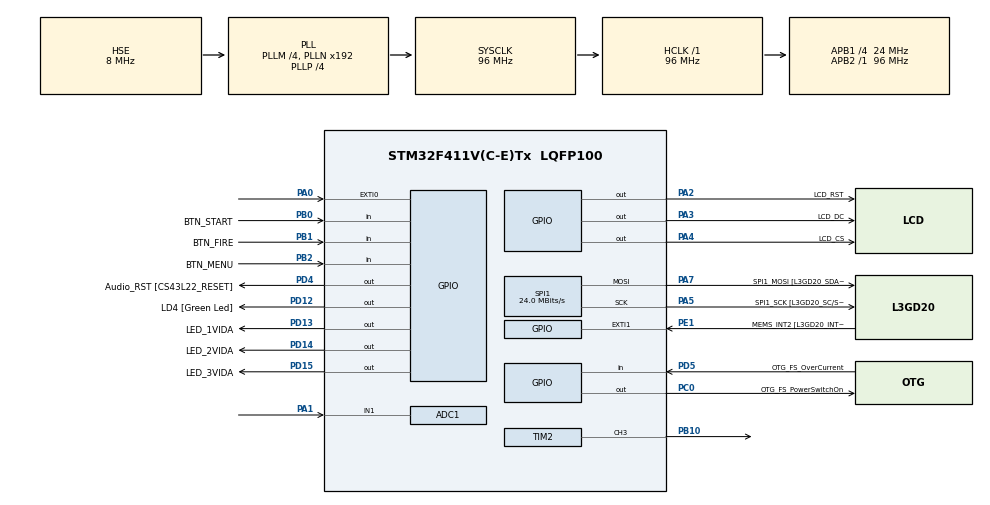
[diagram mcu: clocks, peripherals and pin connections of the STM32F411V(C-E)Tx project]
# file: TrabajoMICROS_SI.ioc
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ADC1.Channel-0\#ChannelRegularConversion=ADC_CHANNEL_1
ADC1.ContinuousConvMode=ENABLE
ADC1.NbrOfConversionFlag=1
ADC1.Rank-0\#ChannelRegularConversion=1
ADC1.SamplingTime-0\#ChannelRegularConversion=ADC_SAMPLETIME_3CYCLES
ADC1.master=1
Dma.Request0=SPI1_TX
Dma.SPI1_TX.0.Direction=DMA_MEMORY_TO_PERIPH
Dma.SPI1_TX.0.FIFOMode=DMA_FIFOMODE_DISABLE
Dma.SPI1_TX.0.Instance=DMA2_Stream2
Dma.SPI1_TX.0.MemDataAlignment=DMA_MDATAALIGN_BYTE
Dma.SPI1_TX.0.MemInc=DMA_MINC_ENABLE
Dma.SPI1_TX.0.Mode=DMA_NORMAL
Dma.SPI1_TX.0.PeriphDataAlignment=DMA_PDATAALIGN_BYTE
Dma.SPI1_TX.0.PeriphInc=DMA_PINC_DISABLE
Dma.SPI1_TX.0.Priority=DMA_PRIORITY_HIGH
Mcu.Family=STM32F4
Mcu.Name=STM32F411V(C-E)Tx
Mcu.Package=LQFP100
NVIC.DMA2_Stream2_IRQn=true\:0\:0\:false\:false\:true\:false\:true\:true
NVIC.PriorityGroup=NVIC_PRIORITYGROUP_0
PA0-WKUP.GPIO_ModeDefaultEXTI=GPIO_MODE_EVT_RISING
PA0-WKUP.Signal=GPXTI0
PA1.Signal=ADCx_IN1
PA13.GPIO_Label=SWDIO
PA13.Mode=Serial_Wire
PA13.Signal=SYS_JTMS-SWDIO
PA14.GPIO_Label=SWCLK
PA14.Mode=Serial_Wire
PA14.Signal=SYS_JTCK-SWCLK
PA2.GPIO_Label=LCD_RST
PA2.Signal=GPIO_Output
PA3.GPIO_Label=LCD_DC
PA3.Signal=GPIO_Output
PA4.GPIO_Label=LCD_CS
PA4.Signal=GPIO_Output
PA5.GPIO_Label=SPI1_SCK [L3GD20_SC/SPC]
PA5.Mode=TX_Only_Simplex_Unidirect_Master
PA5.Signal=SPI1_SCK
PA6.GPIO_Label=SPI1_MISO [L3GD20_AS0/SDO]
PA6.Signal=SPI1_MISO
PA7.GPIO_Label=SPI1_MOSI [L3GD20_SDA/SDI/SDO]
PA7.Mode=TX_Only_Simplex_Unidirect_Master
PA7.Signal=SPI1_MOSI
PB0.GPIO_Label=BTN_START
PB0.GPIO_PuPd=GPIO_PULLUP
PB0.Signal=GPIO_Input
PB1.GPIO_Label=BTN_FIRE
PB1.GPIO_PuPd=GPIO_PULLUP
PB1.Signal=GPIO_Input
PB10.Signal=S_TIM2_CH3
PB2.GPIO_Label=BTN_MENU
PB2.GPIO_PuPd=GPIO_PULLUP
PB2.Signal=GPIO_Input
PB3.GPIO_Label=SWO
PB3.Signal=SYS_JTDO-SWO
PC0.GPIO_Label=OTG_FS_PowerSwitchOn
PC0.PinState=GPIO_PIN_SET
PC0.Signal=GPIO_Output
PC14-OSC32_IN.GPIO_Label=PC14-OSC32_IN
PC14-OSC32_IN.Mode=LSE-External-Oscillator
PC14-OSC32_IN.Signal=RCC_OSC32_IN
PC15-OSC32_OUT.GPIO_Label=PC15-OSC32_OUT
PC15-OSC32_OUT.Mode=LSE-External-Oscillator
PC15-OSC32_OUT.Signal=RCC_OSC32_OUT
PD12.GPIO_Label=LD4 [Green Led]
PD12.GPIO_PuPd=GPIO_NOPULL
PD12.GPIO_Speed=GPIO_SPEED_FREQ_LOW
PD12.Signal=GPIO_Output
PD13.GPIO_Label=LED_1VIDA
PD13.GPIO_PuPd=GPIO_NOPULL
PD13.GPIO_Speed=GPIO_SPEED_FREQ_LOW
PD13.Signal=GPIO_Output
PD14.GPIO_Label=LED_2VIDA
PD14.GPIO_PuPd=GPIO_NOPULL
PD14.GPIO_Speed=GPIO_SPEED_FREQ_LOW
PD14.Signal=GPIO_Output
PD15.GPIO_Label=LED_3VIDA
PD15.GPIO_PuPd=GPIO_NOPULL
PD15.GPIO_Speed=GPIO_SPEED_FREQ_LOW
PD15.Signal=GPIO_Output
PD4.GPIO_Label=Audio_RST [CS43L22_RESET]
PD4.Signal=GPIO_Output
PD5.GPIO_Label=OTG_FS_OverCurrent
PD5.Signal=GPIO_Input
PE1.GPIO_Label=MEMS_INT2 [L3GD20_INT2]
PE1.GPIO_ModeDefaultEXTI=GPIO_MODE_EVT_RISING
PE1.Signal=GPXTI1
PH0\ -\ OSC_IN.GPIO_Label=PH0-OSC_IN
PH0\ -\ OSC_IN.Mode=HSE-External-Oscillator
PH0\ -\ OSC_IN.Signal=RCC_OSC_IN
PH1\ -\ OSC_OUT.GPIO_Label=PH1-OSC_OUT
PH1\ -\ OSC_OUT.Mode=HSE-External-Oscillator
PH1\ -\ OSC_OUT.Signal=RCC_OSC_OUT
ProjectManager.HeapSize=0x200
ProjectManager.StackSize=0x400
ProjectManager.TargetToolchain=STM32CubeIDE
RCC.48MHZClocksFreq_Value=48000000
RCC.AHBFreq_Value=96000000
RCC.APB1CLKDivider=RCC_HCLK_DIV4
RCC.APB1Freq_Value=24000000
RCC.APB1TimFreq_Value=48000000
RCC.APB2Freq_Value=96000000
RCC.APB2TimFreq_Value=96000000
RCC.CortexFreq_Value=96000000
RCC.HCLKFreq_Value=96000000
RCC.HSE_VALUE=8000000
RCC.HSI_VALUE=16000000
RCC.PLLI2SM=5
RCC.PLLI2SN=200
RCC.PLLM=4
RCC.PLLP=RCC_PLLP_DIV4
RCC.PLLQ=8
RCC.PLLSourceVirtual=RCC_PLLSOURCE_HSE
RCC.SYSCLKFreq_VALUE=96000000
RCC.SYSCLKSource=RCC_SYSCLKSOURCE_PLLCLK
RCC.VCOOutputFreq_Value=384000000
SH.ADCx_IN1.0=ADC1_IN1,IN1
SH.S_TIM2_CH3.0=TIM2_CH3,PWM Generation3 CH3
SPI1.BaudRatePrescaler=SPI_BAUDRATEPRESCALER_4
SPI1.CalculateBaudRate=24.0 MBits/s
SPI1.Direction=SPI_DIRECTION_2LINES
SPI1.Mode=SPI_MODE_MASTER
SPI1.VirtualType=VM_MASTER
TIM2.Channel-PWM\ Generation3\ CH3=TIM_CHANNEL_3
board=STM32F411E-DISCO

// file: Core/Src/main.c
/* USER CODE BEGIN Header */
/**
  ******************************************************************************
  * @file           : main.c
  * @brief          : Main program body
  ******************************************************************************
  * @attention
  *
  * Copyright (c) 2026 STMicroelectronics.
  * All rights reserved.
  *
  * This software is licensed under terms that can be found in the LICENSE file
  * in the root directory of this software component.
  * If no LICENSE file comes with this software, it is provided AS-IS.
  *
  ******************************************************************************
  */
/* USER CODE END Header */
#include "main.h"

ADC_HandleTypeDef hadc1;

SPI_HandleTypeDef hspi1;
DMA_HandleTypeDef hdma_spi1_tx;

TIM_HandleTypeDef htim2;

void SystemClock_Config(void);
static void MX_GPIO_Init(void);
static void MX_DMA_Init(void);
static void MX_SPI1_Init(void);
static void MX_ADC1_Init(void);
static void MX_TIM2_Init(void);

/* USER CODE BEGIN 0 */

#include "sprites.h"
#include "fonts.h"
#include <stdio.h>
#include <stdlib.h>

// --- 1. DEFINICIONES DE PINES ---
#define LCD_CS_LOW()    HAL_GPIO_WritePin(LCD_CS_GPIO_Port, LCD_CS_Pin, GPIO_PIN_RESET)
#define LCD_CS_HIGH()   HAL_GPIO_WritePin(LCD_CS_GPIO_Port, LCD_CS_Pin, GPIO_PIN_SET)
#define LCD_DC_CMD()    HAL_GPIO_WritePin(LCD_DC_GPIO_Port, LCD_DC_Pin, GPIO_PIN_RESET)
#define LCD_DC_DATA()   HAL_GPIO_WritePin(LCD_DC_GPIO_Port, LCD_DC_Pin, GPIO_PIN_SET)
#define LCD_RST_LOW()   HAL_GPIO_WritePin(LCD_RST_GPIO_Port, LCD_RST_Pin, GPIO_PIN_RESET)
#define LCD_RST_HIGH()  HAL_GPIO_WritePin(LCD_RST_GPIO_Port, LCD_RST_Pin, GPIO_PIN_SET)

extern SPI_HandleTypeDef hspi1;
extern TIM_HandleTypeDef htim2;
extern ADC_HandleTypeDef hadc1;

// --- 2. FUNCIONES BASE PANTALLA ---
void ST7796_Cmd(uint8_t cmd) {
    LCD_DC_CMD(); LCD_CS_LOW(); HAL_SPI_Transmit(&hspi1, &cmd, 1, 10); LCD_CS_HIGH();
}

void ST7796_Data(uint8_t data) {
    LCD_DC_DATA(); LCD_CS_LOW(); HAL_SPI_Transmit(&hspi1, &data, 1, 10); LCD_CS_HIGH();
}

void ST7796_Init(void) {
    LCD_CS_HIGH(); LCD_RST_LOW(); HAL_Delay(100); LCD_RST_HIGH(); HAL_Delay(100);
    ST7796_Cmd(0x01); HAL_Delay(120);
    ST7796_Cmd(0x11); HAL_Delay(120);
    ST7796_Cmd(0x3A); ST7796_Data(0x55);
    ST7796_Cmd(0x36); ST7796_Data(0x48);
    ST7796_Cmd(0x29); HAL_Delay(10);
}

void ST7796_SetWindow(uint16_t x0, uint16_t y0, uint16_t x1, uint16_t y1) {
    ST7796_Cmd(0x2A);
    uint8_t dataX[] = {x0 >> 8, x0 & 0xFF, x1 >> 8, x1 & 0xFF};
    LCD_DC_DATA(); LCD_CS_LOW(); HAL_SPI_Transmit(&hspi1, dataX, 4, 10); LCD_CS_HIGH();

    ST7796_Cmd(0x2B);
    uint8_t dataY[] = {y0 >> 8, y0 & 0xFF, y1 >> 8, y1 & 0xFF};
    LCD_DC_DATA(); LCD_CS_LOW(); HAL_SPI_Transmit(&hspi1, dataY, 4, 10); LCD_CS_HIGH();
    ST7796_Cmd(0x2C);
}

void ST7796_Fill(uint16_t color) {
    ST7796_SetWindow(0, 0, 319, 479);
    uint8_t colorBytes[2] = {color >> 8, color & 0xFF};
    LCD_DC_DATA(); LCD_CS_LOW();
    for(long i = 0; i < (320 * 480); i++) HAL_SPI_Transmit(&hspi1, colorBytes, 2, 10);
    LCD_CS_HIGH();
}

void ST7796_DrawRect(uint16_t x, uint16_t y, uint16_t w, uint16_t h, uint16_t color) {
    if((x+w) > 320 || (y+h) > 480) return;
    ST7796_SetWindow(x, y, x + w - 1, y + h - 1);
    uint8_t colorBytes[2] = {color >> 8, color & 0xFF};
    LCD_DC_DATA(); LCD_CS_LOW();
    for(uint32_t i = 0; i < (w * h); i++) HAL_SPI_Transmit(&hspi1, colorBytes, 2, 10);
    LCD_CS_HIGH();
}

void ST7796_DrawBitmap(uint16_t x, uint16_t y, uint16_t w, uint16_t h, const uint16_t *bitmap) {
    if((x+w) > 320 || (y+h) > 480) return;
    ST7796_SetWindow(x, y, x + w - 1, y + h - 1);
    LCD_DC_DATA(); LCD_CS_LOW();
    for(uint32_t i = 0; i < (w * h); i++) {
        uint16_t color = bitmap[i];
        uint8_t colorBytes[2] = {color >> 8, color & 0xFF};
        HAL_SPI_Transmit(&hspi1, colorBytes, 2, 10);
    }
    LCD_CS_HIGH();
}

// --- 3. FUNCIONES DE TEXTO (FONTS) ---
void ST7796_DrawChar(uint16_t x, uint16_t y, char c, uint16_t color, uint16_t bg, uint8_t size) {
    if((x+7*size) > 320 || (y+10*size) > 480) return;
    if(c < 32 || c > 127) return;
    const uint16_t *pChar = &Font7x10[(c - 32) * 10];

    ST7796_SetWindow(x, y, x + (7*size) - 1, y + (10*size) - 1);
    LCD_DC_DATA(); LCD_CS_LOW();

    for(int i=0; i<10; i++) {
        uint16_t line = pChar[i];
        for(int r=0; r<size; r++) {
            for(int j=0; j<7; j++) {
                uint16_t pixelColor = (line & (0x8000 >> j)) ? color : bg;
                uint8_t colorBytes[2] = {pixelColor >> 8, pixelColor & 0xFF};
                for(int k=0; k<size; k++) {
                   HAL_SPI_Transmit(&hspi1, colorBytes, 2, 10);
                }
            }
        }
    }
    LCD_CS_HIGH();
}

void ST7796_WriteString(uint16_t x, uint16_t y, char *str, uint16_t color, uint16_t bg, uint8_t size) {
    while(*str) {
        ST7796_DrawChar(x, y, *str, color, bg, size);
        x += 7 * size;
        str++;
    }
}

// --- FUNCIÓN PARA DIBUJAR CON ZOOM ---
// x, y: Coordenadas
// w, h: Ancho y alto original
// bitmap: El array de la imagen
// zoom: Cuántas veces más grande (1 = normal, 2 = doble, 3 = triple...)
void ST7796_DrawBitmapZoom(int x, int y, int w, int h, const uint16_t* bitmap, int zoom) {
    for (int j = 0; j < h; j++) {
        for (int i = 0; i < w; i++) {
            // Obtenemos el color del píxel original
            uint16_t color = bitmap[j * w + i];

            // Si no es negro (transparencia), pintamos un cuadrado gordo
            if (color != 0x0000) {
                ST7796_DrawRect(x + (i * zoom), y + (j * zoom), zoom, zoom, color);
            }
        }
    }
}

// --- 4. SONIDO ---
void Beep(uint16_t frecuencia, uint16_t duracion) {
    if(frecuencia == 0) return;
    uint32_t periodo = 1000000 / frecuencia;
    __HAL_TIM_SET_AUTORELOAD(&htim2, periodo);
    __HAL_TIM_SET_COMPARE(&htim2, TIM_CHANNEL_3, periodo / 2);

    HAL_TIM_PWM_Start(&htim2, TIM_CHANNEL_3);
    HAL_Delay(duracion);
    HAL_TIM_PWM_Stop(&htim2, TIM_CHANNEL_3);
}

// --- 5. VARIABLES GLOBALES
int naveX = 152;
int naveY = 420;

typedef enum {
    ESTADO_MENU,
    ESTADO_SELECCION,
    ESTADO_JUEGO,
    ESTADO_VICTORIA,
    ESTADO_DERROTA
} EstadoJuego;

// --- DISPAROS ENEMIGOS ---
#define MAX_BALAS_ENEMIGAS 5      // Máximo de balas enemigas en pantalla
#define VELOCIDAD_BALA_ENEMIGA 6  // Bajan un poco más lento que las tuyas
typedef struct {
    int x, y;
    uint8_t activa;
} BalaEnemiga;
BalaEnemiga balasEnemigas[MAX_BALAS_ENEMIGAS];

// --- GESTIÓN DE LEDS DE VIDA (PD13, PD14, PD15) ---
void ActualizarLEDsVidas(int numVidas) {
    // 1. Apagamos todos primero (para limpiar estado)
    HAL_GPIO_WritePin(LED_1VIDA_GPIO_Port, LED_1VIDA_Pin, GPIO_PIN_RESET);
    HAL_GPIO_WritePin(LED_2VIDA_GPIO_Port, LED_2VIDA_Pin, GPIO_PIN_RESET);
    HAL_GPIO_WritePin(LED_3VIDA_GPIO_Port, LED_3VIDA_Pin, GPIO_PIN_RESET);
    if (numVidas >= 1) HAL_GPIO_WritePin(LED_1VIDA_GPIO_Port, LED_1VIDA_Pin, GPIO_PIN_SET);
    if (numVidas >= 2) HAL_GPIO_WritePin(LED_2VIDA_GPIO_Port, LED_2VIDA_Pin, GPIO_PIN_SET);
    if (numVidas >= 3) HAL_GPIO_WritePin(LED_3VIDA_GPIO_Port, LED_3VIDA_Pin, GPIO_PIN_SET);
}

EstadoJuego estadoActual = ESTADO_MENU;

uint32_t ultimoTiempoRefresco = 0;
const uint32_t TIEMPO_ENTRE_FRAMES = 33;

int vidas = 3;
int naveSeleccionada = 0;

// --- DEFINICIONES DE ENEMIGOS
#define FILAS_MARCIANOS 5  // 1 fila de cada tipo
#define COLS_MARCIANOS 6   // 6 columnas
#define TOTAL_MARCIANOS (FILAS_MARCIANOS * COLS_MARCIANOS)

typedef struct {
    int x;
    int y;
    int tipo;
    int ancho;
    int alto;
    uint8_t vivo;
} Marciano;

Marciano marcianos[TOTAL_MARCIANOS];
int velocidadMarcianos = 4; // ¡Más rápido porque hay menos!
int direccionMarcianos = 1;

// --- DEFINICIONES DISPAROS ---
#define MAX_BALAS 10       // Bajamos un poco para ahorrar cálculos
#define VELOCIDAD_BALA 12
#define COOLDOWN_DISPARO 150

typedef struct {
    int x;
    int y;
    uint8_t activa;
} Bala;

Bala balas[MAX_BALAS];

// --- SISTEMA DE SOBRECALENTAMIENTO DEL ARMA, COOLDOWN ---
#define MAX_CALOR 1200           // Tiempo de cooldown de la rafaga
#define CALOR_POR_DISPARO 300    // Cuánto calienta cada bala
#define ENFRIAMIENTO_FRAME 33    // Cuánto enfría cada vuelta del bucle
// CÁLCULO: 300 calor / 150ms cadencia vs 33 enfriamiento * 4.5 frames = Sube el calor neto.

int calorArma = 0;               // Variable actual de calor (0 a 2000)
uint8_t armaSobrecalentada = 0;  // Flag: 1 = Bloqueada, 0 = Lista

// --- SISTEMA DE SONIDO NO BLOQUEANTE (REFORZADO) ---
uint32_t tiempoFinSonido = 0;
uint8_t buzzerActivo = 0;

void PlayTone(uint16_t frecuencia, uint16_t duracion) {
    if(frecuencia == 0) return;

    // 1. Parar PWM para configurar
    HAL_TIM_PWM_Stop(&htim2, TIM_CHANNEL_3);

    // 2. Calcular periodo (Reloj 1MHz)
    uint32_t periodo = 1000000 / frecuencia;

    // 3. Aplicar configuración
    __HAL_TIM_SET_AUTORELOAD(&htim2, periodo);
    __HAL_TIM_SET_COMPARE(&htim2, TIM_CHANNEL_3, periodo / 2); // 50% Duty Cycle
    // Forzar actualización de registros sombra (Importante para STM32)
    __HAL_TIM_SET_COUNTER(&htim2, 0);

    // 4. Arrancar de nuevo
    HAL_TIM_PWM_Start(&htim2, TIM_CHANNEL_3);

    // 5. Programar apagado
    tiempoFinSonido = HAL_GetTick() + duracion;
    buzzerActivo = 1;
}

/* USER CODE END 0 */

int main(void)
{

  /* MCU Configuration--------------------------------------------------------*/

  /* Reset of all peripherals, Initializes the Flash interface and the Systick. */
  HAL_Init();

  /* Configure the system clock */
  SystemClock_Config();

  /* Initialize all configured peripherals */
  MX_GPIO_Init();
  MX_DMA_Init();
  MX_SPI1_Init();
  MX_ADC1_Init();
  MX_TIM2_Init();
  /* USER CODE BEGIN 2 */

    // 1. Inicializamos hardware
    ST7796_Init();
    ST7796_Fill(0x0000); // Fondo negro

        Beep(1500, 100);

  /* USER CODE END 2 */

  /* Infinite loop */
  while (1)
  {

    /* USER CODE BEGIN 3 */

	      uint32_t tiempoActual = HAL_GetTick();

	      if (tiempoActual - ultimoTiempoRefresco >= TIEMPO_ENTRE_FRAMES) {

	          ultimoTiempoRefresco = tiempoActual;

	          // MÁQUINA DE ESTADOS
	          switch (estadoActual) {

	          case ESTADO_MENU:

	                          static uint8_t menuPintado = 0;

	                          // 1. DIBUJAR
	                          if (menuPintado == 0) {
	                              ST7796_Fill(0x0000); // Limpiar pantalla a negro

	                              // Título Grande - Color Verde
	                              ST7796_WriteString(40, 100, "SPACE", 0x07E0, 0x0000, 5);
	                              ST7796_WriteString(20, 160, "INVADERS", 0xF800, 0x0000, 5);

	                              // Nombres - Color Blanco
	                              ST7796_WriteString(50, 230, "Desarrollado por", 0xFFFF, 0x0000, 1);
	                              ST7796_WriteString(50, 250, "- Andres Galindo Gordon", 0xFFFF, 0x0000, 1);
	                              ST7796_WriteString(50, 260, "- Marina Moreno Hernandez", 0xFFFF, 0x0000, 1);
	                              ST7796_WriteString(50, 270, "- Segio Llana Ayen", 0xFFFF, 0x0000, 1);

	                              // Instrucción
	                              ST7796_WriteString(60, 350, "PULSA START", 0xFFE0, 0x0000, 2);

	                              menuPintado = 1;
	                          }

	                          // 2. LOGICA (Esperar botón START - PB0)
	                          if (HAL_GPIO_ReadPin(GPIOB, GPIO_PIN_0) == GPIO_PIN_RESET) {
	                              Beep(1000, 100);
	                              ST7796_Fill(0x0000);
	                              menuPintado = 0;
	                              estadoActual = ESTADO_SELECCION;
	                              HAL_Delay(300);
	                          }
	                          break;

	          case ESTADO_SELECCION:
					  static int seleccionAnterior = -1;
					  static uint8_t primeraVez = 1;

					  // 1. DIBUJAR INTERFAZ FIJA
					  if (primeraVez) {
						  ST7796_Fill(0x0000);

						  // Títulos estáticos
						  ST7796_WriteString(80, 40, "SELECCIONA", 0xFFFF, 0x0000, 2);
						  ST7796_WriteString(100, 70, "TU NAVE", 0xFFFF, 0x0000, 2);

						  // Flechas estáticas
						  ST7796_WriteString(20, 200, "<", 0xFFFF, 0x0000, 2);
						  ST7796_WriteString(290, 200, ">", 0xFFFF, 0x0000, 2);

						  ST7796_WriteString(60, 400, "PULSA START", 0xFF00, 0x0000, 2);

						  primeraVez = 0;
						  seleccionAnterior = -1;
					  }

					  // 2. LEER JOYSTICK
					  HAL_ADC_Start(&hadc1);
					  HAL_ADC_PollForConversion(&hadc1, 10);
					  uint32_t joyValSel = HAL_ADC_GetValue(&hadc1);

					  if (joyValSel > 3000) {
						  naveSeleccionada++;
						  if (naveSeleccionada > 2) naveSeleccionada = 0;
						  PlayTone(2000, 30);
						  HAL_Delay(150);
					  }
					  else if (joyValSel < 1000) {
						  naveSeleccionada--;
						  if (naveSeleccionada < 0) naveSeleccionada = 2;
						  PlayTone(2000, 30);
						  HAL_Delay(150);
					  }

					  // 3. DIBUJAR NAVES (al cambiar selección)
					  if (naveSeleccionada != seleccionAnterior) {

						  //BORRAR (solo zona central) ---
						  ST7796_DrawRect(40, 150, 240, 200, 0x0000);

						  // --- LOGICA DE POSICIONES ---
						  int naveIzquierda = (naveSeleccionada == 0) ? 2 : naveSeleccionada - 1;
						  int naveDerecha   = (naveSeleccionada == 2) ? 0 : naveSeleccionada + 1;

						  // A. NAVE IZQUIERDA
						  if (naveIzquierda == 0) ST7796_DrawBitmap(40, 200, 16, 8, nave_16x8);
						  else if (naveIzquierda == 1) ST7796_DrawBitmap(40, 200, 20, 10, nave_delta_20x10);
						  else ST7796_DrawBitmap(40, 200, 16, 10, nave_interceptor_16x10);

						  // B. NAVE DERECHA
						  if (naveDerecha == 0) ST7796_DrawBitmap(260, 200, 16, 8, nave_16x8);
						  else if (naveDerecha == 1) ST7796_DrawBitmap(260, 200, 20, 10, nave_delta_20x10);
						  else ST7796_DrawBitmap(260, 200, 16, 10, nave_interceptor_16x10);

						  // C. NAVE CENTRAL (x4)
						  if (naveSeleccionada == 0) {
							  ST7796_DrawBitmapZoom(128, 180, 16, 8, nave_16x8, 4);
							  ST7796_WriteString(100, 260, "NORMAL", 0x07E0, 0x0000, 2);
							  ST7796_WriteString(80, 290, "Salud        -----", 0xFFFF, 0x0000, 1);
							  ST7796_WriteString(80, 310, "Disparo      -----", 0xFFFF, 0x0000, 1);
							  ST7796_WriteString(80, 330, "Velocidad    -----", 0xFFFF, 0x0000, 1);
						  }
						  else if (naveSeleccionada == 1) {
							  ST7796_DrawBitmapZoom(120, 180, 20, 10, nave_delta_20x10, 4);
							  ST7796_WriteString(110, 260, "DELTA", 0x07E0, 0x0000, 2);
							  ST7796_WriteString(80, 290, "Salud        -----", 0xFFFF, 0x0000, 1);
							  ST7796_WriteString(80, 310, "Disparo      ---", 0xFFFF, 0x0000, 1);
							  ST7796_WriteString(80, 330, "Velocidad    ----------", 0xFFFF, 0x0000, 1);
						  }
						  else {
							  ST7796_DrawBitmapZoom(128, 180, 16, 10, nave_interceptor_16x10, 4);
							  ST7796_WriteString(80, 260, "INTERCEPTOR", 0x07E0, 0x0000, 2);
							  ST7796_WriteString(80, 290, "Salud        ------", 0xFFFF, 0x0000, 1);
							  ST7796_WriteString(80, 310, "Disparo      ---------", 0xFFFF, 0x0000, 1);
							  ST7796_WriteString(80, 330, "Velocidad    --", 0xFFFF, 0x0000, 1);
						  }

						  seleccionAnterior = naveSeleccionada;
					  }

					  // 4. CONFIRMAR (START)
					  if (HAL_GPIO_ReadPin(GPIOB, GPIO_PIN_0) == GPIO_PIN_RESET) {
						  PlayTone(1000, 100);
						  PlayTone(1500, 200);

						  primeraVez = 1; // Resetear para la próxima vez que volvamos al menú
						  seleccionAnterior = -1;

						  estadoActual = ESTADO_JUEGO;
						  HAL_Delay(300);
					  }
					  break;

	              case ESTADO_JUEGO:
					  // --- VARIABLES ESTÁTICAS
					  static uint8_t juegoIniciado = 0;
					  static int anchoNave = 16;
					  static int altoNave = 8;
					  static int oldNaveX = 0;
					  static int oldNaveY = 0;

					  static uint32_t ultimoDisparo = 0;
					  static uint32_t ultimoMovMarcianos = 0;
					  static int marcianosVivos = 0;
					  static int oleada = 1;

					  // Variable de muerte unificada (para colisión física o disparo)
					  uint8_t muerteJugador = 0;

					  // --- 1. INICIALIZACIÓN
					  if (juegoIniciado == 0) {
						  ST7796_Fill(0x0000);

						  if (naveSeleccionada == 0) { anchoNave = 16; altoNave = 8; }
						  else if (naveSeleccionada == 1) { anchoNave = 20; altoNave = 10; }
						  else if (naveSeleccionada == 2) { anchoNave = 16; altoNave = 10; }

						  naveX = 152;
						  naveY = 420;

						  for(int i=0; i<MAX_BALAS; i++) balas[i].activa = 0;
						  for(int i=0; i<MAX_BALAS_ENEMIGAS; i++) balasEnemigas[i].activa = 0; // Reset balas enemigas

						  calorArma = 0;
						  armaSobrecalentada = 0;

						  oleada = 1;
						  velocidadMarcianos = 4;
						  ActualizarLEDsVidas(vidas);

						  // INICIALIZAR MARCIANOS
						  int idx = 0;
						  direccionMarcianos = 1;
						  marcianosVivos = TOTAL_MARCIANOS;

						  for(int fila=0; fila < FILAS_MARCIANOS; fila++) {
							  for(int col=0; col < COLS_MARCIANOS; col++) {
								  marcianos[idx].vivo = 1;
								  marcianos[idx].x = 30 + (col * 45);
								  marcianos[idx].y = 40 + (fila * 30);
								  marcianos[idx].tipo = fila;

								  if(fila==0) { marcianos[idx].ancho=16; marcianos[idx].alto=11; }
								  else if(fila==1) { marcianos[idx].ancho=16; marcianos[idx].alto=11; }
								  else if(fila==2) { marcianos[idx].ancho=16; marcianos[idx].alto=11; }
								  else if(fila==3) { marcianos[idx].ancho=18; marcianos[idx].alto=12; }
								  else { marcianos[idx].ancho=24; marcianos[idx].alto=16; }
								  idx++;
							  }
						  }

						  // Animación
						  for (int y = 480; y >= 420; y -= 4) {
							  ST7796_DrawRect(naveX, y + 4, anchoNave, altoNave, 0x0000);
							  if (naveSeleccionada == 0) ST7796_DrawBitmap(naveX, y, 16, 8, nave_16x8);
							  else if (naveSeleccionada == 1) ST7796_DrawBitmap(naveX, y, 20, 10, nave_delta_20x10);
							  else if (naveSeleccionada == 2) ST7796_DrawBitmap(naveX, naveY, 16, 10, nave_interceptor_16x10);
							  HAL_Delay(5);
						  }
						  oldNaveX = naveX;
						  oldNaveY = naveY;

						  char bufferVidas[10];
						  sprintf(bufferVidas, "VIDAS: %d", vidas);
						  ST7796_WriteString(10, 10, bufferVidas, 0xFFFF, 0x0000, 1);

						  juegoIniciado = 1;
					  }

					  // --- 2. ENFRIAMIENTO Y MOVIMIENTO NAVE ---
					  if (calorArma > 0) {
						  calorArma -= ENFRIAMIENTO_FRAME;
						  if (calorArma < 0) calorArma = 0;
					  }
					  if (armaSobrecalentada && calorArma == 0) {
						  armaSobrecalentada = 0;
						  ST7796_WriteString(200, 10, "            ", 0x0000, 0x0000, 1);
						  PlayTone(1000, 50);
					  }

					  HAL_ADC_Start(&hadc1);
					  HAL_ADC_PollForConversion(&hadc1, 10);
					  uint32_t valJoy = HAL_ADC_GetValue(&hadc1);

					  if (valJoy < 1000) { naveX -= 8; if (naveX < 0) naveX = 0; }
					  else if (valJoy > 3000) { naveX += 8; if (naveX > (320 - anchoNave)) naveX = 320 - anchoNave; }

					  // --- 3. DISPAROS JUGADOR ---
					  if (HAL_GPIO_ReadPin(GPIOB, GPIO_PIN_1) == GPIO_PIN_RESET) {
						  if (!armaSobrecalentada) {
							  if (HAL_GetTick() - ultimoDisparo > COOLDOWN_DISPARO) {
								  for (int i = 0; i < MAX_BALAS; i++) {
									  if (balas[i].activa == 0) {
										  balas[i].activa = 1;
										  balas[i].x = naveX + (anchoNave / 2) - 1;
										  balas[i].y = naveY - 4;
										  PlayTone(5000, 30);
										  calorArma += CALOR_POR_DISPARO;
										  if (calorArma >= MAX_CALOR) {
											  armaSobrecalentada = 1;
											  calorArma = MAX_CALOR;
											  ST7796_WriteString(200, 10, "ENFRIANDO...", 0xF800, 0x0000, 1);
											  PlayTone(100, 100);
										  }
										  ultimoDisparo = HAL_GetTick();
										  break;
									  }
								  }
							  }
						  }
					  }

					  // --- 4. ACTUALIZAR BALAS JUGADOR ---
					  for (int i = 0; i < MAX_BALAS; i++) {
						  if (balas[i].activa == 1) {
							  ST7796_DrawRect(balas[i].x, balas[i].y, 2, 5, 0x0000);
							  balas[i].y -= VELOCIDAD_BALA;

							  if (balas[i].y < 0) balas[i].activa = 0;
							  else {
								  uint8_t impacto = 0;
								  for(int m=0; m < TOTAL_MARCIANOS; m++) {
									  if(marcianos[m].vivo) {
										  if(balas[i].x >= marcianos[m].x &&
											 balas[i].x <= (marcianos[m].x + marcianos[m].ancho) &&
											 balas[i].y >= marcianos[m].y &&
											 balas[i].y <= (marcianos[m].y + marcianos[m].alto)) {

											  marcianos[m].vivo = 0;
											  ST7796_DrawRect(marcianos[m].x, marcianos[m].y, marcianos[m].ancho, marcianos[m].alto, 0x0000);
											  balas[i].activa = 0;
											  impacto = 1;
											  marcianosVivos--;
											  PlayTone(100, 40);
											  break;
										  }
									  }
								  }
								  if(!impacto) ST7796_DrawRect(balas[i].x, balas[i].y, 2, 5, 0xFFFF);
							  }
						  }
					  }

					  // --- 5. INTELIGENCIA ARTIFICIAL ENEMIGA (MEJORADA) ---
					  if (oleada >= 2) {
						  for(int i=0; i<TOTAL_MARCIANOS; i++) {
							  // Solo procesamos si el marciano está vivo
							  if (marcianos[i].vivo) {

								  int puedeDisparar = 0; // Bandera de permiso

								  // REGLA 1: Los Morados (Tipo 4) disparan desde la Oleada 2
								  if (marcianos[i].tipo == 4 && oleada >= 2) {
									  puedeDisparar = 1;
								  }

								  // REGLA 2: Los Verdes (Tipo 0) disparan desde la Oleada 3
								  if (marcianos[i].tipo == 0 && oleada >= 3) {
									  puedeDisparar = 1;
								  }

								  // Si tiene permiso, tiramos los dados (1% de probabilidad)
								  if (puedeDisparar && (rand() % 100) < 1) {
									  // Buscar bala enemiga libre
									  for(int b=0; b<MAX_BALAS_ENEMIGAS; b++) {
										  if(balasEnemigas[b].activa == 0) {
											  balasEnemigas[b].activa = 1;
											  // La bala sale del centro del marciano
											  balasEnemigas[b].x = marcianos[i].x + (marcianos[i].ancho/2);
											  balasEnemigas[b].y = marcianos[i].y + marcianos[i].alto;
											  break;
										  }
									  }
								  }
							  }
						  }
					  }

					  // --- 6. MOVER BALAS ENEMIGAS Y DETECTAR IMPACTO ---
					  for(int b=0; b<MAX_BALAS_ENEMIGAS; b++) {
						  if(balasEnemigas[b].activa) {
							  ST7796_DrawRect(balasEnemigas[b].x, balasEnemigas[b].y, 3, 6, 0x0000); // Borrar
							  balasEnemigas[b].y += VELOCIDAD_BALA_ENEMIGA; // Caen hacia abajo

							  // Salida de pantalla
							  if(balasEnemigas[b].y > 480) {
								  balasEnemigas[b].activa = 0;
							  }
							  else {
								  // COLISIÓN CON JUGADOR (Hitbox)
								  if (balasEnemigas[b].x >= naveX &&
									  balasEnemigas[b].x <= (naveX + anchoNave) &&
									  balasEnemigas[b].y >= naveY &&
									  balasEnemigas[b].y <= (naveY + altoNave)) {

									  muerteJugador = 1; // ¡TE HAN DADO!
									  balasEnemigas[b].activa = 0;
								  } else {
									  // Pintar Bala ROJA (0xF800)
									  ST7796_DrawRect(balasEnemigas[b].x, balasEnemigas[b].y, 3, 6, 0xF800);
								  }
							  }
						  }
					  }

					  // --- 7. MOVER MARCIANOS ---
					  if (HAL_GetTick() - ultimoMovMarcianos > 50) {
						  ultimoMovMarcianos = HAL_GetTick();
						  uint8_t tocarBorde = 0;

						  for (int i = 0; i < TOTAL_MARCIANOS; i++) {
							  if (marcianos[i].vivo) {
								  if ((direccionMarcianos == 1 && marcianos[i].x > 290) ||
									  (direccionMarcianos == -1 && marcianos[i].x < 10)) {
									  tocarBorde = 1;
								  }
								  // Colisión física (cuerpo a cuerpo)
								  if (marcianos[i].y + marcianos[i].alto >= naveY &&
									  marcianos[i].x + marcianos[i].ancho >= naveX &&
									  marcianos[i].x <= naveX + anchoNave) {
									  muerteJugador = 1;
								  }
							  }
						  }

						  if (tocarBorde) {
							  direccionMarcianos *= -1;
							  for (int i = 0; i < TOTAL_MARCIANOS; i++) {
								  if(marcianos[i].vivo) {
									  ST7796_DrawRect(marcianos[i].x, marcianos[i].y, marcianos[i].ancho, marcianos[i].alto, 0x0000);
									  marcianos[i].y += 4;
									  const uint16_t* sprite = (marcianos[i].tipo == 0) ? marciano1_Verde_16x11 :
															   (marcianos[i].tipo == 1) ? marciano1_Amarillo_16x11 :
															   (marcianos[i].tipo == 2) ? marciano1_Azul_16x11 :
															   (marcianos[i].tipo == 3) ? marciano2_Rojo_18x12 : marciano3_Morado_24x16;
									  ST7796_DrawBitmap(marcianos[i].x, marcianos[i].y, marcianos[i].ancho, marcianos[i].alto, sprite);
								  }
							  }
						  } else {
							  for (int i = 0; i < TOTAL_MARCIANOS; i++) {
								  if(marcianos[i].vivo) {
									  ST7796_DrawRect(marcianos[i].x, marcianos[i].y, marcianos[i].ancho, marcianos[i].alto, 0x0000);
									  marcianos[i].x += (velocidadMarcianos * direccionMarcianos);
									  const uint16_t* sprite = (marcianos[i].tipo == 0) ? marciano1_Verde_16x11 :
															   (marcianos[i].tipo == 1) ? marciano1_Amarillo_16x11 :
															   (marcianos[i].tipo == 2) ? marciano1_Azul_16x11 :
															   (marcianos[i].tipo == 3) ? marciano2_Rojo_18x12 : marciano3_Morado_24x16;
									  ST7796_DrawBitmap(marcianos[i].x, marcianos[i].y, marcianos[i].ancho, marcianos[i].alto, sprite);
								  }
							  }
						  }
					  }

					  // --- 8. GESTIÓN DE MUERTE (Unificada) ---
					  if (muerteJugador) {
						  PlayTone(300, 300);
						  vidas--;
						  ActualizarLEDsVidas(vidas);

						  char bufferVidas[10];
						  sprintf(bufferVidas, "VIDAS: %d", vidas);
						  ST7796_WriteString(10, 10, bufferVidas, 0xFFFF, 0x0000, 1);

						  ST7796_DrawRect(naveX, naveY, anchoNave, altoNave, 0x0000);
						  ST7796_DrawRect(oldNaveX, oldNaveY, anchoNave, altoNave, 0x0000);

						  // Limpiar balas enemigas para que no te maten al reaparecer
						  for(int b=0; b<MAX_BALAS_ENEMIGAS; b++) {
							  if(balasEnemigas[b].activa) {
								   ST7796_DrawRect(balasEnemigas[b].x, balasEnemigas[b].y, 3, 6, 0x0000);
								   balasEnemigas[b].activa = 0;
							  }
						  }

						  if (vidas == 0) {
							  juegoIniciado = 0;
							  estadoActual = ESTADO_DERROTA;
						  } else {
							  naveX = 152; oldNaveX = 152; oldNaveY = 420;
							  calorArma = 0; armaSobrecalentada = 0;
							  ST7796_WriteString(200, 10, "            ", 0x0000, 0x0000, 1);
							  if (naveSeleccionada == 0) ST7796_DrawBitmap(naveX, naveY, 16, 8, nave_16x8);
							  else if (naveSeleccionada == 1) ST7796_DrawBitmap(naveX, naveY, 20, 10, nave_delta_20x10);
							  else if (naveSeleccionada == 2) ST7796_DrawBitmap(naveX, naveY, 16, 10, nave_interceptor_16x10);
							  HAL_Delay(200);
						  }
					  }

					  // --- 9. VICTORIA/OLEADAS ---
					  if(!muerteJugador && marcianosVivos == 0) { // Solo si no has muerto en este frame
						  for(int i=0; i<MAX_BALAS; i++) balas[i].activa = 0;
						  for(int i=0; i<MAX_BALAS_ENEMIGAS; i++) balasEnemigas[i].activa = 0;
						  PlayTone(1000, 100); HAL_Delay(100); PlayTone(2000, 200);

						  oleada++;
						  if (oleada > 3) {
							  juegoIniciado = 0;
							  estadoActual = ESTADO_VICTORIA;
						  }
						  else {
							  char bufferOleada[20];
							  sprintf(bufferOleada, "OLEADA %d", oleada);
							  ST7796_WriteString(100, 220, bufferOleada, 0x07E0, 0x0000, 3);
							  HAL_Delay(2000);
							  ST7796_Fill(0x0000);
							  velocidadMarcianos += 2;

							  int idx = 0; direccionMarcianos = 1; marcianosVivos = TOTAL_MARCIANOS;
							  for(int fila=0; fila < FILAS_MARCIANOS; fila++) {
								  for(int col=0; col < COLS_MARCIANOS; col++) {
									  marcianos[idx].vivo = 1;
									  marcianos[idx].x = 30 + (col * 45);
									  marcianos[idx].y = 40 + (fila * 30);
									  marcianos[idx].tipo = fila;
									  if(fila==0) { marcianos[idx].ancho=16; marcianos[idx].alto=11; }
									  else if(fila==1) { marcianos[idx].ancho=16; marcianos[idx].alto=11; }
									  else if(fila==2) { marcianos[idx].ancho=16; marcianos[idx].alto=11; }
									  else if(fila==3) { marcianos[idx].ancho=18; marcianos[idx].alto=12; }
									  else { marcianos[idx].ancho=24; marcianos[idx].alto=16; }
									  idx++;
								  }
							  }
							  char bufferVidas[10]; sprintf(bufferVidas, "VIDAS: %d", vidas);
							  ST7796_WriteString(10, 10, bufferVidas, 0xFFFF, 0x0000, 1);
							  if (naveSeleccionada == 0) ST7796_DrawBitmap(naveX, naveY, 16, 8, nave_16x8);
							  else if (naveSeleccionada == 1) ST7796_DrawBitmap(naveX, naveY, 20, 10, nave_delta_20x10);
							  else if (naveSeleccionada == 2) ST7796_DrawBitmap(naveX, naveY, 16, 10, nave_interceptor_16x10);
						  }
					  }

					  // --- 10. RENDERIZADO NAVE ---
					  if (!muerteJugador && (naveX != oldNaveX || naveY != oldNaveY)) {
						  ST7796_DrawRect(oldNaveX, oldNaveY, anchoNave, altoNave, 0x0000);
						  if (naveSeleccionada == 0) ST7796_DrawBitmap(naveX, naveY, 16, 8, nave_16x8);
						  else if (naveSeleccionada == 1) ST7796_DrawBitmap(naveX, naveY, 20, 10, nave_delta_20x10);
						  else if (naveSeleccionada == 2) ST7796_DrawBitmap(naveX, naveY, 16, 10, nave_interceptor_16x10);
						  oldNaveX = naveX;
						  oldNaveY = naveY;
					  }

					  // --- 11. SALIDA MANUAL ---
					  if (HAL_GPIO_ReadPin(GPIOB, GPIO_PIN_2) == GPIO_PIN_RESET) {
						  PlayTone(500, 300);
						  juegoIniciado = 0;
						  estadoActual = ESTADO_MENU;
						  ActualizarLEDsVidas(0);
						  HAL_Delay(300);
					  }
					  break;

	              case ESTADO_VICTORIA:
					  static uint8_t victoriaPintada = 0;

					  juegoIniciado = 0;

					  // 1. DIBUJAR Y SONIDO (Solo la primera vez)
					  if (victoriaPintada == 0) {
						  ST7796_Fill(0x0000); // Fondo negro

						  // Texto de Victoria
						  ST7796_WriteString(60, 150, "MISION", 0x07E0, 0x0000, 3); // Verde grande
						  ST7796_WriteString(40, 190, "CUMPLIDA", 0x07E0, 0x0000, 3);

						  // Mostrar vidas restantes como puntuación
						  char bufferScore[20];
						  sprintf(bufferScore, "Vidas Restantes: %d", vidas);
						  ST7796_WriteString(50, 250, bufferScore, 0xFFFF, 0x0000, 1);

						  ST7796_WriteString(60, 400, "PULSA RESET", 0xFFFF, 0x0000, 2);

						  // Melodía de Victoria (Ta-da-da-daaa!)
						  PlayTone(1000, 100); HAL_Delay(100);
						  PlayTone(1500, 100); HAL_Delay(100);
						  PlayTone(2000, 100); HAL_Delay(100);
						  PlayTone(2500, 400);

						  victoriaPintada = 1; // Bloquear para no repetir
					  }

					  // 2. SALIDA (Botón RESET - PB2)
					  if (HAL_GPIO_ReadPin(GPIOB, GPIO_PIN_2) == GPIO_PIN_RESET) {
						  PlayTone(1000, 100); // Confirmación
						  victoriaPintada = 0; // Resetear bandera para la próxima vez

						  // Resetear variables globales importantes
						  vidas = 3;
						  ActualizarLEDsVidas(vidas);
						  naveSeleccionada = 0;

						  estadoActual = ESTADO_MENU; // Volver al inicio
						  HAL_Delay(300); // Anti-rebote
					  }
					  break;

				  case ESTADO_DERROTA:
					  static uint8_t derrotaPintada = 0;

					  juegoIniciado = 0;

					  // 1. DIBUJAR Y SONIDO (Solo la primera vez)
					  if (derrotaPintada == 0) {
						  ST7796_Fill(0x0000); // Fondo negro

						  // Texto de Derrota (Rojo Sangre)
						  ST7796_WriteString(80, 150, "GAME", 0xF800, 0x0000, 3);
						  ST7796_WriteString(80, 190, "OVER", 0xF800, 0x0000, 3);

						  ST7796_WriteString(40, 280, "La flota ha caido...", 0xFFFF, 0x0000, 1);
						  ST7796_WriteString(60, 400, "PULSA RESET", 0xFFFF, 0x0000, 2);

						  // Melodía de Derrota (Triste y descendente)
						  PlayTone(1000, 300); HAL_Delay(300);
						  PlayTone(800, 300);  HAL_Delay(300);
						  PlayTone(600, 300);  HAL_Delay(300);
						  PlayTone(400, 600);  // Womp womp womp...

						  derrotaPintada = 1; // Bloquear
					  }

					  // 2. SALIDA (Botón RESET - PB2)
					  if (HAL_GPIO_ReadPin(GPIOB, GPIO_PIN_2) == GPIO_PIN_RESET) {
						  PlayTone(1000, 100);
						  derrotaPintada = 0;

						  // Resetear variables
						  vidas = 3;
						  ActualizarLEDsVidas(vidas);
						  naveSeleccionada = 0;

						  estadoActual = ESTADO_MENU;
						  HAL_Delay(300);
					  }
					  break;
	          }
	          // --- GESTOR DE SONIDO DE FONDO (Fuera del if de 33ms para mayor precisión) ---
	              if (buzzerActivo && HAL_GetTick() >= tiempoFinSonido) {
	                  HAL_TIM_PWM_Stop(&htim2, TIM_CHANNEL_3);
	                  buzzerActivo = 0;
	              }
	      }

  }
  /* USER CODE END 3 */
}

void SystemClock_Config(void)
{
  RCC_OscInitTypeDef RCC_OscInitStruct = {0};
  RCC_ClkInitTypeDef RCC_ClkInitStruct = {0};

  /** Configure the main internal regulator output voltage
  */
  __HAL_RCC_PWR_CLK_ENABLE();
  __HAL_PWR_VOLTAGESCALING_CONFIG(PWR_REGULATOR_VOLTAGE_SCALE1);

  /** Initializes the RCC Oscillators according to the specified parameters
  * in the RCC_OscInitTypeDef structure.
  */
  RCC_OscInitStruct.OscillatorType = RCC_OSCILLATORTYPE_HSE;
  RCC_OscInitStruct.HSEState = RCC_HSE_ON;
  RCC_OscInitStruct.PLL.PLLState = RCC_PLL_ON;
  RCC_OscInitStruct.PLL.PLLSource = RCC_PLLSOURCE_HSE;
  RCC_OscInitStruct.PLL.PLLM = 4;
  RCC_OscInitStruct.PLL.PLLN = 192;
  RCC_OscInitStruct.PLL.PLLP = RCC_PLLP_DIV4;
  RCC_OscInitStruct.PLL.PLLQ = 8;
  if (HAL_RCC_OscConfig(&RCC_OscInitStruct) != HAL_OK)
  {
    Error_Handler();
  }

  /** Initializes the CPU, AHB and APB buses clocks
  */
  RCC_ClkInitStruct.ClockType = RCC_CLOCKTYPE_HCLK|RCC_CLOCKTYPE_SYSCLK
                              |RCC_CLOCKTYPE_PCLK1|RCC_CLOCKTYPE_PCLK2;
  RCC_ClkInitStruct.SYSCLKSource = RCC_SYSCLKSOURCE_PLLCLK;
  RCC_ClkInitStruct.AHBCLKDivider = RCC_SYSCLK_DIV1;
  RCC_ClkInitStruct.APB1CLKDivider = RCC_HCLK_DIV4;
  RCC_ClkInitStruct.APB2CLKDivider = RCC_HCLK_DIV1;

  if (HAL_RCC_ClockConfig(&RCC_ClkInitStruct, FLASH_LATENCY_3) != HAL_OK)
  {
    Error_Handler();
  }
}

static void MX_ADC1_Init(void)
{

  ADC_ChannelConfTypeDef sConfig = {0};

  /** Configure the global features of the ADC (Clock, Resolution, Data Alignment and number of conversion)
  */
  hadc1.Instance = ADC1;
  hadc1.Init.ClockPrescaler = ADC_CLOCK_SYNC_PCLK_DIV4;
  hadc1.Init.Resolution = ADC_RESOLUTION_12B;
  hadc1.Init.ScanConvMode = DISABLE;
  hadc1.Init.ContinuousConvMode = ENABLE;
  hadc1.Init.DiscontinuousConvMode = DISABLE;
  hadc1.Init.ExternalTrigConvEdge = ADC_EXTERNALTRIGCONVEDGE_NONE;
  hadc1.Init.ExternalTrigConv = ADC_SOFTWARE_START;
  hadc1.Init.DataAlign = ADC_DATAALIGN_RIGHT;
  hadc1.Init.NbrOfConversion = 1;
  hadc1.Init.DMAContinuousRequests = DISABLE;
  hadc1.Init.EOCSelection = ADC_EOC_SINGLE_CONV;
  if (HAL_ADC_Init(&hadc1) != HAL_OK)
  {
    Error_Handler();
  }

  /** Configure for the selected ADC regular channel its corresponding rank in the sequencer and its sample time.
  */
  sConfig.Channel = ADC_CHANNEL_1;
  sConfig.Rank = 1;
  sConfig.SamplingTime = ADC_SAMPLETIME_3CYCLES;
  if (HAL_ADC_ConfigChannel(&hadc1, &sConfig) != HAL_OK)
  {
    Error_Handler();
  }

}

static void MX_SPI1_Init(void)
{

  /* SPI1 parameter configuration*/
  hspi1.Instance = SPI1;
  hspi1.Init.Mode = SPI_MODE_MASTER;
  hspi1.Init.Direction = SPI_DIRECTION_2LINES;
  hspi1.Init.DataSize = SPI_DATASIZE_8BIT;
  hspi1.Init.CLKPolarity = SPI_POLARITY_LOW;
  hspi1.Init.CLKPhase = SPI_PHASE_1EDGE;
  hspi1.Init.NSS = SPI_NSS_SOFT;
  hspi1.Init.BaudRatePrescaler = SPI_BAUDRATEPRESCALER_4;
  hspi1.Init.FirstBit = SPI_FIRSTBIT_MSB;
  hspi1.Init.TIMode = SPI_TIMODE_DISABLE;
  hspi1.Init.CRCCalculation = SPI_CRCCALCULATION_DISABLE;
  hspi1.Init.CRCPolynomial = 10;
  if (HAL_SPI_Init(&hspi1) != HAL_OK)
  {
    Error_Handler();
  }

}

static void MX_TIM2_Init(void)
{

  TIM_MasterConfigTypeDef sMasterConfig = {0};
  TIM_OC_InitTypeDef sConfigOC = {0};

  htim2.Instance = TIM2;
  htim2.Init.Prescaler = 0;
  htim2.Init.CounterMode = TIM_COUNTERMODE_UP;
  htim2.Init.Period = 4294967295;
  htim2.Init.ClockDivision = TIM_CLOCKDIVISION_DIV1;
  htim2.Init.AutoReloadPreload = TIM_AUTORELOAD_PRELOAD_DISABLE;
  if (HAL_TIM_PWM_Init(&htim2) != HAL_OK)
  {
    Error_Handler();
  }
  sMasterConfig.MasterOutputTrigger = TIM_TRGO_RESET;
  sMasterConfig.MasterSlaveMode = TIM_MASTERSLAVEMODE_DISABLE;
  if (HAL_TIMEx_MasterConfigSynchronization(&htim2, &sMasterConfig) != HAL_OK)
  {
    Error_Handler();
  }
  sConfigOC.OCMode = TIM_OCMODE_PWM1;
  sConfigOC.Pulse = 0;
  sConfigOC.OCPolarity = TIM_OCPOLARITY_HIGH;
  sConfigOC.OCFastMode = TIM_OCFAST_DISABLE;
  if (HAL_TIM_PWM_ConfigChannel(&htim2, &sConfigOC, TIM_CHANNEL_3) != HAL_OK)
  {
    Error_Handler();
  }
  HAL_TIM_MspPostInit(&htim2);

}

static void MX_DMA_Init(void)
{

  /* DMA controller clock enable */
  __HAL_RCC_DMA2_CLK_ENABLE();

  /* DMA interrupt init */
  /* DMA2_Stream2_IRQn interrupt configuration */
  HAL_NVIC_SetPriority(DMA2_Stream2_IRQn, 0, 0);
  HAL_NVIC_EnableIRQ(DMA2_Stream2_IRQn);

}

static void MX_GPIO_Init(void)
{
  GPIO_InitTypeDef GPIO_InitStruct = {0};

  /* GPIO Ports Clock Enable */
  __HAL_RCC_GPIOC_CLK_ENABLE();
  __HAL_RCC_GPIOH_CLK_ENABLE();
  __HAL_RCC_GPIOA_CLK_ENABLE();
  __HAL_RCC_GPIOB_CLK_ENABLE();
  __HAL_RCC_GPIOD_CLK_ENABLE();
  __HAL_RCC_GPIOE_CLK_ENABLE();

  /*Configure GPIO pin Output Level */
  HAL_GPIO_WritePin(OTG_FS_PowerSwitchOn_GPIO_Port, OTG_FS_PowerSwitchOn_Pin, GPIO_PIN_SET);

  /*Configure GPIO pin Output Level */
  HAL_GPIO_WritePin(GPIOA, LCD_RST_Pin|LCD_DC_Pin|LCD_CS_Pin, GPIO_PIN_RESET);

  /*Configure GPIO pin Output Level */
  HAL_GPIO_WritePin(GPIOD, LD4_Pin|LED_1VIDA_Pin|LED_2VIDA_Pin|LED_3VIDA_Pin
                          |Audio_RST_Pin, GPIO_PIN_RESET);

  /*Configure GPIO pin : OTG_FS_PowerSwitchOn_Pin */
  GPIO_InitStruct.Pin = OTG_FS_PowerSwitchOn_Pin;
  GPIO_InitStruct.Mode = GPIO_MODE_OUTPUT_PP;
  GPIO_InitStruct.Pull = GPIO_NOPULL;
  GPIO_InitStruct.Speed = GPIO_SPEED_FREQ_LOW;
  HAL_GPIO_Init(OTG_FS_PowerSwitchOn_GPIO_Port, &GPIO_InitStruct);

  /*Configure GPIO pin : PA0 */
  GPIO_InitStruct.Pin = GPIO_PIN_0;
  GPIO_InitStruct.Mode = GPIO_MODE_EVT_RISING;
  GPIO_InitStruct.Pull = GPIO_NOPULL;
  HAL_GPIO_Init(GPIOA, &GPIO_InitStruct);

  /*Configure GPIO pins : LCD_RST_Pin LCD_DC_Pin LCD_CS_Pin */
  GPIO_InitStruct.Pin = LCD_RST_Pin|LCD_DC_Pin|LCD_CS_Pin;
  GPIO_InitStruct.Mode = GPIO_MODE_OUTPUT_PP;
  GPIO_InitStruct.Pull = GPIO_NOPULL;
  GPIO_InitStruct.Speed = GPIO_SPEED_FREQ_LOW;
  HAL_GPIO_Init(GPIOA, &GPIO_InitStruct);

  /*Configure GPIO pins : BTN_START_Pin BTN_FIRE_Pin BTN_MENU_Pin */
  GPIO_InitStruct.Pin = BTN_START_Pin|BTN_FIRE_Pin|BTN_MENU_Pin;
  GPIO_InitStruct.Mode = GPIO_MODE_INPUT;
  GPIO_InitStruct.Pull = GPIO_PULLUP;
  HAL_GPIO_Init(GPIOB, &GPIO_InitStruct);

  /*Configure GPIO pins : LD4_Pin LED_1VIDA_Pin LED_2VIDA_Pin LED_3VIDA_Pin
                           Audio_RST_Pin */
  GPIO_InitStruct.Pin = LD4_Pin|LED_1VIDA_Pin|LED_2VIDA_Pin|LED_3VIDA_Pin
                          |Audio_RST_Pin;
  GPIO_InitStruct.Mode = GPIO_MODE_OUTPUT_PP;
  GPIO_InitStruct.Pull = GPIO_NOPULL;
  GPIO_InitStruct.Speed = GPIO_SPEED_FREQ_LOW;
  HAL_GPIO_Init(GPIOD, &GPIO_InitStruct);

  /*Configure GPIO pin : OTG_FS_OverCurrent_Pin */
  GPIO_InitStruct.Pin = OTG_FS_OverCurrent_Pin;
  GPIO_InitStruct.Mode = GPIO_MODE_INPUT;
  GPIO_InitStruct.Pull = GPIO_NOPULL;
  HAL_GPIO_Init(OTG_FS_OverCurrent_GPIO_Port, &GPIO_InitStruct);

  /*Configure GPIO pin : MEMS_INT2_Pin */
  GPIO_InitStruct.Pin = MEMS_INT2_Pin;
  GPIO_InitStruct.Mode = GPIO_MODE_EVT_RISING;
  GPIO_InitStruct.Pull = GPIO_NOPULL;
  HAL_GPIO_Init(MEMS_INT2_GPIO_Port, &GPIO_InitStruct);

}

void Error_Handler(void)
{
  __disable_irq();
  while (1)
  {
  }
}
